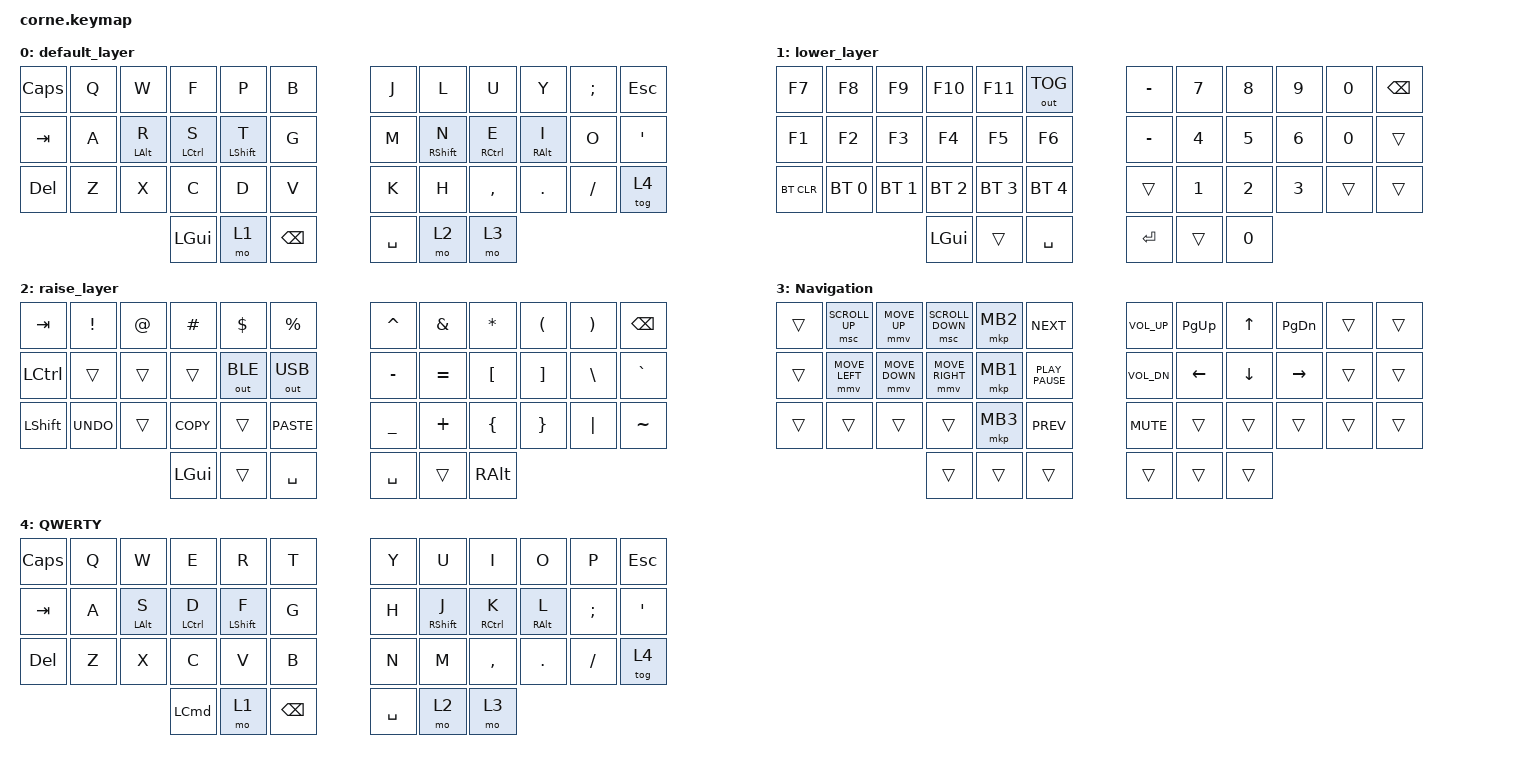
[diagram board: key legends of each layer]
/*
 * Copyright (c) 2020 The ZMK Contributors
 *
 * SPDX-License-Identifier: MIT
 */

#include <behaviors.dtsi>
#include <dt-bindings/zmk/bt.h>
#include <dt-bindings/zmk/keys.h>
#include <dt-bindings/zmk/mouse.h>
#include <dt-bindings/zmk/outputs.h>

&mt { tapping-term-ms = <500>; };

/ {
    keymap {
        compatible = "zmk,keymap";

        default_layer {
            // -----------------------------------------------------------------------------------------
            // | CAPS |  Q  |  W  |  F  |  P  |  B  |   |  J  |  L   |  U  |  Y  |  ;  | ESC  |
            // | TAB  |  A  |  R  |  S  |  T  |  G  |   |  M  |  N   |  E  |  I  |  O  |  '   |
            // | DEL  |  Z  |  X  |  C  |  D  |  V  |   |  K  |  H   |  ,  |  .  |  /  | Tog(4) |
            //                    | GUI | LWR | BSPC |   | SPACE | RSE  | NAV |

            bindings = <
&kp CAPS  &kp Q  &kp W           &kp F               &kp P        &kp B       &kp J      &kp L        &kp U        &kp Y       &kp SEMI  &kp ESCAPE
&kp TAB   &kp A  &mt LEFT_ALT R  &mt LEFT_CONTROL S  &mt LSHFT T  &kp G       &kp M      &mt RSHFT N  &mt RCTRL E  &mt RALT I  &kp O     &kp SQT
&kp DEL   &kp Z  &kp X           &kp C               &kp D        &kp V       &kp K      &kp H        &kp COMMA    &kp DOT     &kp FSLH  &tog 4
                                 &kp LGUI            &mo 1        &kp BSPC    &kp SPACE  &mo 2        &mo 3
            >;
        };

        lower_layer {
            // -----------------------------------------------------------------------------------------
            // |  TAB |  1  |  2  |  3  |  4  |  5  |   |  6  |  7  |  8  |  9  |  0  | BSPC |
            // | BTCLR| BT1 | BT2 | BT3 | BT4 | BT5 |   | LFT | DWN |  UP | RGT |     |      |
            // | SHFT |     |     |     |     |     |   |     |     |     |     |     |      |
            //                    | GUI |     | SPC |   | ENT |     | ALT |

            bindings = <
&kp F7      &kp F8        &kp F9        &kp F10       &kp F11       &out OUT_TOG    &kp MINUS  &kp N7        &kp N8  &kp N9  &kp N0  &kp BSPC
&kp F1      &kp F2        &kp F3        &kp F4        &kp F5        &kp F6          &kp MINUS  &kp NUMBER_4  &kp N5  &kp N6  &kp N0  &trans
&bt BT_CLR  &bt BT_SEL 0  &bt BT_SEL 1  &bt BT_SEL 2  &bt BT_SEL 3  &bt BT_SEL 4    &trans     &kp N1        &kp N2  &kp N3  &trans  &trans
                                        &kp LGUI      &trans        &kp SPACE       &kp RET    &trans        &kp N0
            >;
        };

        raise_layer {
            // -----------------------------------------------------------------------------------------
            // |  TAB |  !  |  @  |  #  |  $  |  %  |   |  ^  |  &  |  *  |  (  |  )  | BSPC |
            // | CTRL |     |     |     |     |     |   |  -  |  =  |  [  |  ]  |  \  |  `   |
            // | SHFT |     |     |     |     |     |   |  _  |  +  |  {  |  }  | "|" |  ~   |
            //                    | GUI |     | SPC |   | ENT |     | ALT |

            bindings = <
&kp TAB    &kp EXCL    &kp AT  &kp HASH    &kp DLLR      &kp PRCNT       &kp CARET  &kp AMPS   &kp ASTRK  &kp LPAR  &kp RPAR  &kp BSPC
&kp LCTRL  &trans      &trans  &trans      &out OUT_BLE  &out OUT_USB    &kp MINUS  &kp EQUAL  &kp LBKT   &kp RBKT  &kp BSLH  &kp GRAVE
&kp LSHFT  &kp K_UNDO  &trans  &kp K_COPY  &trans        &kp K_PASTE     &kp UNDER  &kp PLUS   &kp LBRC   &kp RBRC  &kp PIPE  &kp TILDE
                               &kp LGUI    &trans        &kp SPACE       &kp SPACE  &trans     &kp RALT
            >;
        };

        Navigation {
            bindings = <
&trans  &msc SCROLL_UP  &mmv MOVE_UP    &msc SCROLL_DOWN  &mkp MB2  &kp K_NEXT          &kp C_VOLUME_UP  &kp PAGE_UP  &kp UP    &kp PAGE_DOWN  &trans  &trans
&trans  &mmv MOVE_LEFT  &mmv MOVE_DOWN  &mmv MOVE_RIGHT   &mkp MB1  &kp K_PLAY_PAUSE    &kp C_VOL_DN     &kp LEFT     &kp DOWN  &kp RIGHT      &trans  &trans
&trans  &trans          &trans          &trans            &mkp MB3  &kp K_PREV          &kp K_MUTE       &trans       &trans    &trans         &trans  &trans
                                        &trans            &trans    &trans              &trans           &trans       &trans
            >;
        };

        QWERTY {
            bindings = <
&kp CAPSLOCK  &kp Q  &kp W           &kp E               &kp R             &kp T            &kp Y      &kp U              &kp I                &kp O            &kp P      &kp ESC
&kp TAB       &kp A  &mt LEFT_ALT S  &mt LEFT_CONTROL D  &mt LEFT_SHIFT F  &kp G            &kp H      &mt RIGHT_SHIFT J  &mt RIGHT_CONTROL K  &mt RIGHT_ALT L  &kp SEMI   &kp SQT
&kp DEL       &kp Z  &kp X           &kp C               &kp V             &kp B            &kp N      &kp M              &kp COMMA            &kp PERIOD       &kp SLASH  &tog 4
                                     &kp LEFT_COMMAND    &mo 1             &kp BACKSPACE    &kp SPACE  &mo 2              &mo 3
            >;
        };
    };
};
